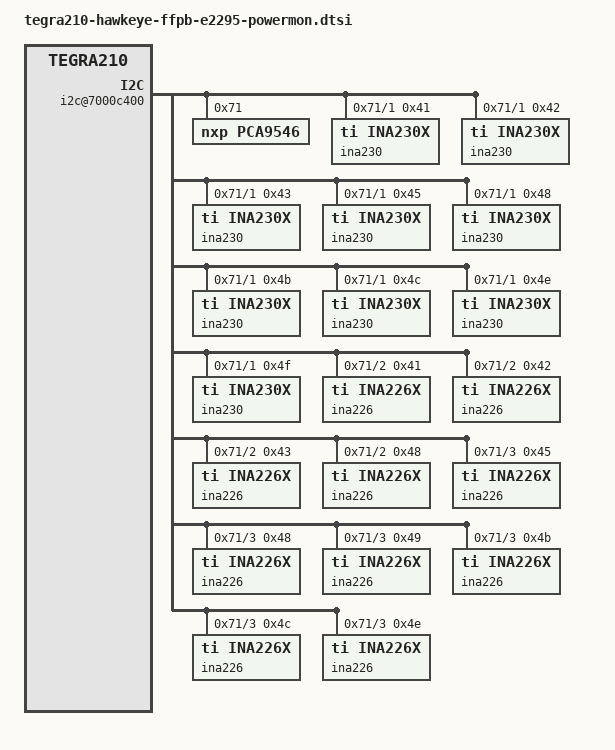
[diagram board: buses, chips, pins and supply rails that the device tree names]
/*
 * Copyright (c) 2015, NVIDIA CORPORATION.  All rights reserved.
 *
 * This program is free software; you can redistribute it and/or modify
 * it under the terms of the GNU General Public License as published by
 * the Free Software Foundation; either version 2 of the License, or
 * (at your option) any later version.
 *
 * This program is distributed in the hope that it will be useful, but WITHOUT
 * ANY WARRANTY; without even the implied warranty of MERCHANTABILITY or
 * FITNESS FOR A PARTICULAR PURPOSE.  See the GNU General Public License for
 * more details.
 *
 * You should have received a copy of the GNU General Public License along
 * with this program; if not, write to the Free Software Foundation, Inc.,
 * 51 Franklin Street, Fifth Floor, Boston, MA  02110-1301, USA.
 */
/ {
	i2c@7000c400 {
		pca9546@71 {
			compatible = "nxp,pca9546";
			reg = <0x71>;
			#address-cells = <1>;
			#size-cells = <0>;
			i2c@0 {
				reg = <0>;
				i2c-mux,deselect-on-exit;
				#address-cells = <1>;
				#size-cells = <0>;
			};

			i2c@1 {
				reg = <1>;
				i2c-mux,deselect-on-exit;
				#address-cells = <1>;
				#size-cells = <0>;
				ina230@41{
					compatible = "ti,ina230x";
					reg = <0x41>;
					ti,rail-name = "VDD_BAT_CHG";
					ti,continuous-config = <0x0407>;
					ti,trigger-config = <0x0403>;
					ti,resistor = <5>;
					ti,calibration-data = <0x7FFF>;
					ti,power-lsb = <6866>;
					ti,divisor = <25>;
					ti,precision-multiplier = <1000>;
				};

				ina230@42{
					compatible = "ti,ina230x";
					reg = <0x42>;
					ti,rail-name = "VDD_SYS_BUCKCPU";
					ti,continuous-config = <0x0407>;
					ti,trigger-config = <0x0403>;
					ti,resistor = <2>;
					ti,calibration-data = <0x7FFF>;
					ti,power-lsb = <6866>;
					ti,divisor = <25>;
					ti,precision-multiplier = <1000>;
				};

				ina230@43{
					compatible = "ti,ina230x";
					reg = <0x43>;
					ti,rail-name = "VDD_SYS_BUCKGPU";
					ti,continuous-config = <0x0407>;
					ti,trigger-config = <0x0403>;
					ti,resistor = <2>;
					ti,calibration-data = <0x7FFF>;
					ti,power-lsb = <6866>;
					ti,divisor = <25>;
					ti,precision-multiplier = <1000>;
				};

				ina230@45{
					compatible = "ti,ina230x";
					reg = <0x45>;
					ti,rail-name = "VDD_SYS_SD1";
					ti,continuous-config = <0x0407>;
					ti,trigger-config = <0x0403>;
					ti,resistor = <10>;
					ti,calibration-data = <0x7FFF>;
					ti,power-lsb = <6866>;
					ti,divisor = <25>;
					ti,precision-multiplier = <1000>;
				};

				ina230@48{
					compatible = "ti,ina230x";
					reg = <0x48>;
					ti,rail-name = "VDD_SYS_SD0";
					ti,continuous-config = <0x0407>;
					ti,trigger-config = <0x0403>;
					ti,resistor = <5>;
					ti,calibration-data = <0x7FFF>;
					ti,power-lsb = <6866>;
					ti,divisor = <25>;
					ti,precision-multiplier = <1000>;
				};

				ina230@4b{
					compatible = "ti,ina230x";
					reg = <0x4b>;
					ti,rail-name = "VDD_SYS_BYPASSBOOSTMDM";
					ti,continuous-config = <0x0407>;
					ti,trigger-config = <0x0403>;
					ti,resistor = <5>;
					ti,calibration-data = <0x7FFF>;
					ti,power-lsb = <6866>;
					ti,divisor = <25>;
					ti,precision-multiplier = <1000>;
				};

				ina230@4c{
					compatible = "ti,ina230x";
					reg = <0x4c>;
					ti,rail-name = "VDD_SYS_BOOSTBL";
					ti,continuous-config = <0x0407>;
					ti,trigger-config = <0x0403>;
					ti,resistor = <30>;
					ti,calibration-data = <0x7FFF>;
					ti,power-lsb = <6866>;
					ti,divisor = <25>;
					ti,precision-multiplier = <1000>;
				};

				ina230@4e{
					compatible = "ti,ina230x";
					reg = <0x4e>;
					ti,rail-name = "VDD_3V3_COM";
					ti,continuous-config = <0x0407>;
					ti,trigger-config = <0x0403>;
					ti,resistor = <10>;
					ti,calibration-data = <0x7FFF>;
					ti,power-lsb = <6866>;
					ti,divisor = <25>;
					ti,precision-multiplier = <1000>;
				};

				ina230@4f{
					compatible = "ti,ina230x";
					reg = <0x4f>;
					ti,rail-name = "VDD_SYS_BOOST5V0";
					ti,continuous-config = <0x0407>;
					ti,trigger-config = <0x0403>;
					ti,resistor = <10>;
					ti,calibration-data = <0x7FFF>;
					ti,power-lsb = <6866>;
					ti,divisor = <25>;
					ti,precision-multiplier = <1000>;
				};
			};

			i2c@2 {
				reg = <2>;
				i2c-mux,deselect-on-exit;
				#address-cells = <1>;
				#size-cells = <0>;
				ina226@41 {
					compatible = "ti,ina226x";
					reg = <0x41>;
					ti,rail-name = "VDD_RTC_AP";
					ti,continuous-config = <0x0407>;
					ti,trigger-config = <0x0403>;
					ti,resistor = <100>;
					ti,calibration-data = <0x7FFF>;
					ti,power-lsb = <6866>;
					ti,divisor = <25>;
					ti,precision-multiplier = <1000>;
				};

				ina226@42 {
					compatible = "ti,ina226x";
					reg = <0x42>;
					ti,rail-name = "VDD_1V35";
					ti,continuous-config = <0x0407>;
					ti,trigger-config = <0x0403>;
					ti,resistor = <50>;
					ti,calibration-data = <0x7FFF>;
					ti,power-lsb = <6866>;
					ti,divisor = <25>;
					ti,precision-multiplier = <1000>;
				};

				ina226@43 {
					compatible = "ti,ina226x";
					reg = <0x43>;
					ti,rail-name = "VDD_LCD_3V3";
					ti,continuous-config = <0x0407>;
					ti,trigger-config = <0x0403>;
					ti,resistor = <10>;
					ti,calibration-data = <0x7FFF>;
					ti,power-lsb = <6866>;
					ti,divisor = <25>;
					ti,precision-multiplier = <1000>;
                                };

				ina226@48 {
					compatible = "ti,ina226x";
					reg = <0x48>;
					ti,rail-name = "VDD_LCD_1V8";
					ti,continuous-config = <0x0407>;
					ti,trigger-config = <0x0403>;
					ti,resistor = <100>;
					ti,calibration-data = <0x7FFF>;
					ti,power-lsb = <6866>;
					ti,divisor = <25>;
					ti,precision-multiplier = <1000>;
				};
			};

			i2c@3 {
				reg = <3>;
				i2c-mux,deselect-on-exit;
				#address-cells = <1>;
				#size-cells = <0>;
				ina226@45 {
					compatible = "ti,ina226x";
					reg = <0x45>;
					ti,rail-name = "VDD_DDR";
					ti,continuous-config = <0x0407>;
					ti,trigger-config = <0x0403>;
					ti,resistor = <1>;
					ti,calibration-data = <0x7FFF>;
					ti,power-lsb = <6866>;
					ti,divisor = <25>;
					ti,precision-multiplier = <1000>;
				};

				ina226@48 {
					compatible = "ti,ina226x";
					reg = <0x48>;
					ti,rail-name = "VDD_GPU_AP";
					ti,continuous-config = <0x0407>;
					ti,trigger-config = <0x0403>;
					ti,resistor = <1>;
					ti,calibration-data = <0x7FFF>;
					ti,power-lsb = <6866>;
					ti,divisor = <25>;
					ti,precision-multiplier = <1000>;
				};

				ina226@49 {
					compatible = "ti,ina226x";
					reg = <0x49>;
					ti,rail-name = "VDD_SOC_AP";
					ti,continuous-config = <0x0407>;
					ti,trigger-config = <0x0403>;
					ti,resistor = <1>;
					ti,calibration-data = <0x7FFF>;
					ti,power-lsb = <6866>;
					ti,divisor = <25>;
					ti,precision-multiplier = <1000>;
				};

				ina226@4b {
					compatible = "ti,ina226x";
					reg = <0x4b>;
					ti,rail-name = "VDD_CPU_AP";
					ti,continuous-config = <0x0407>;
					ti,trigger-config = <0x0403>;
					ti,resistor = <1>;
					ti,calibration-data = <0x7FFF>;
					ti,power-lsb = <6866>;
					ti,divisor = <25>;
					ti,precision-multiplier = <1000>;
				};

				ina226@4c {
					compatible = "ti,ina226x";
					reg = <0x4c>;
					ti,rail-name = "VDD_1V8";
					ti,continuous-config = <0x0407>;
					ti,trigger-config = <0x0403>;
					ti,resistor = <5>;
					ti,calibration-data = <0x7FFF>;
					ti,power-lsb = <6866>;
					ti,divisor = <25>;
					ti,precision-multiplier = <1000>;
				};

				ina226@4e {
					compatible = "ti,ina226x";
					reg = <0x4e>;
					ti,rail-name = "AVDD_1V05";
					ti,continuous-config = <0x0407>;
					ti,trigger-config = <0x0403>;
					ti,resistor = <30>;
					ti,calibration-data = <0x7FFF>;
					ti,power-lsb = <6866>;
					ti,divisor = <25>;
					ti,precision-multiplier = <1000>;
				};
			};
		};
	};
};
